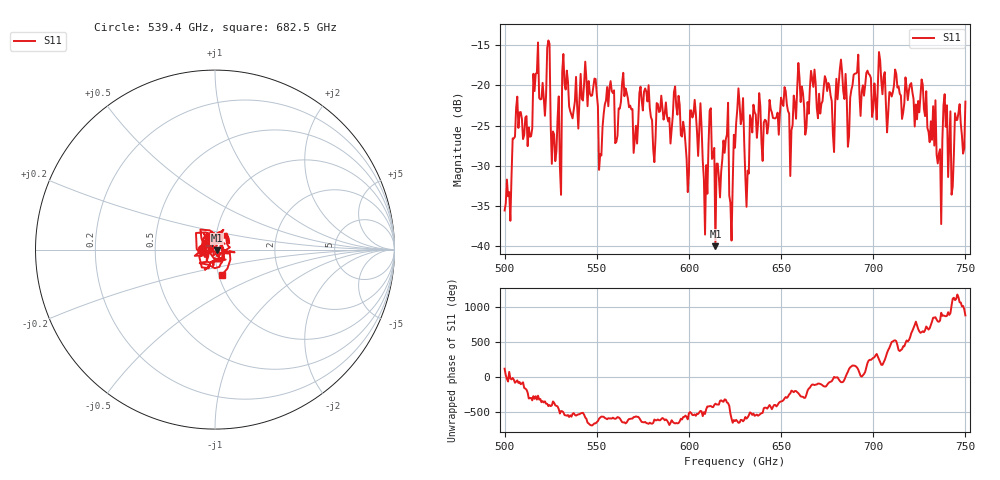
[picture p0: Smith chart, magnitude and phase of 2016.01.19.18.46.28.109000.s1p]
!Created with skrf (http://scikit-rf.org).
# GHz S RI R 50.0
!freq ReS11 ImS11
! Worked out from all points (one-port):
!   401 points, 500 GHz to 750 GHz, reference 50 ohm
!   lowest |S11| = -40.0 dB at 614.4 GHz (marker M1), VSWR 1.02, Z = 50.9 - j0.407 ohm
!   |S11| at or under -10 dB: start of sweep to end of sweep
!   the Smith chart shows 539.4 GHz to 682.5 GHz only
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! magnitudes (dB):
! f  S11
! 500 GHz  -35.6
! 507.5 GHz  -25.3
! 513.8 GHz  -26.4
! 516.9 GHz  -18.5
! 523.8 GHz  -14.4
! 526.9 GHz  -26.1
! 531.2 GHz  -18.3
! 532.5 GHz  -19.8
! 549.4 GHz  -19.2
! 552.5 GHz  -28.7
! 562.5 GHz  -22.9
! 593.8 GHz  -23.6
! 598.8 GHz  -29.2
! 602.5 GHz  -23.5
! 608.8 GHz  -38.6
! 611.9 GHz  -22.8
! 614.4 GHz  -40.0
! 620 GHz  -26.7
! 623.1 GHz  -39.3
! 625 GHz  -27.8
! 656.2 GHz  -24.9
! 667.5 GHz  -20.2
! 687.5 GHz  -21.5
! 718.8 GHz  -21.8
! 735.6 GHz  -28.5
! 738.8 GHz  -21.1
! 741.9 GHz  -23.2
! 750 GHz  -22.0
